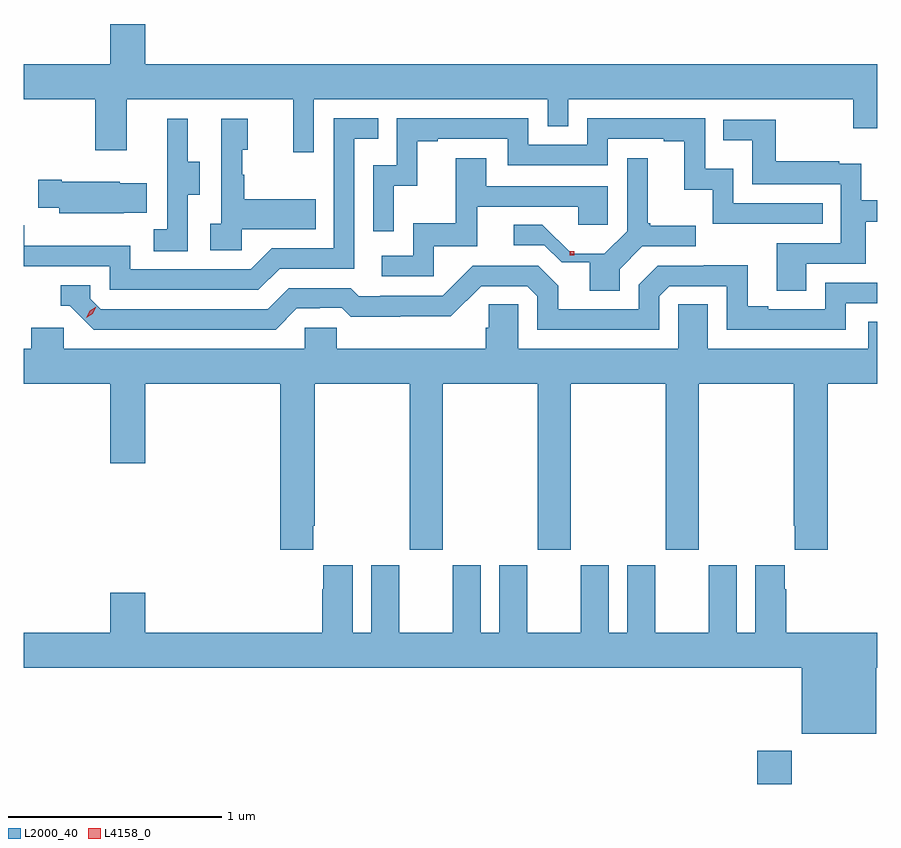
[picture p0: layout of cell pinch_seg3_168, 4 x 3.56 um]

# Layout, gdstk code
import gdstk
lib = gdstk.Library(unit=1e-6, precision=1e-09)
def R(c, l, rs):  # rectangles x0, y0, x1, y1
    for r in rs: c.add(gdstk.rectangle(r[:2], r[2:], *l))
def P(c, l, *ps):  # polygons
    for p in ps: c.add(gdstk.Polygon(p, *l))
L2000_40 = (2000, 40)
L4158_0 = (4158, 0)

pinch_seg3_168 = lib.new_cell('pinch_seg3_168')
R(pinch_seg3_168, L2000_40, [(1139.069,717.688,1139.229,717.844)])
P(pinch_seg3_168, L2000_40, [(1136.991,720.896),(1138.086,720.896),(1138.086,720.769),(1138.182,720.769),(1138.182,720.896),(1139.518,720.896),(1139.518,720.761),(1139.631,720.761),(1139.631,721.06),(1136.2,721.06),(1136.2,721.249),(1136.036,721.249),(1136.036,721.06),(1135.631,721.06),(1135.631,720.896),(1135.966,720.896),(1135.966,720.657),(1136.113,720.657),(1136.113,720.896),(1136.894,720.896),(1136.894,720.648),(1136.991,720.648)],
  [(1137.366,720.491),(1137.476,720.491),(1137.476,720.699),(1137.571,720.699),(1137.571,720.711),(1137.9,720.711),(1137.9,720.588),(1138.368,720.588),(1138.368,720.711),(1138.631,720.711),(1138.631,720.699),(1138.727,720.699),(1138.727,720.473),(1138.86,720.473),(1138.86,720.312),(1139.375,720.312),(1139.375,720.408),(1138.956,720.408),(1138.956,720.571),(1138.824,720.571),(1138.824,720.807),(1138.272,720.807),(1138.272,720.684),(1137.996,720.684),(1137.996,720.807),(1137.378,720.807),(1137.378,720.588),(1137.27,720.588),(1137.27,720.279),(1137.366,720.279)],
  [(1136.83,720.102),(1137.18,720.102),(1137.18,720.711),(1137.293,720.711),(1137.293,720.807),(1137.084,720.807),(1137.084,720.198),(1136.793,720.198),(1136.694,720.099),(1136.13,720.099),(1136.13,720.211),(1135.634,720.211),(1135.634,720.307),(1135.631,720.307),(1135.631,720.114),(1136.034,720.114),(1136.034,720.003),(1136.731,720.003)],
  [(1136.652,720.287),(1136.999,720.287),(1136.999,720.427),(1136.665,720.427),(1136.665,720.542),(1136.655,720.542),(1136.655,720.66),(1136.68,720.66),(1136.68,720.805),(1136.556,720.805),(1136.556,720.314),(1136.505,720.314),(1136.505,720.189),(1136.652,720.189)],
  [(1136.4,720.448),(1136.455,720.448),(1136.455,720.603),(1136.401,720.603),(1136.401,720.805),(1136.303,720.805),(1136.303,720.591),(1136.304,720.591),(1136.304,720.287),(1136.241,720.287),(1136.241,720.184),(1136.4,720.184)],
  [(1139.299,720.126),(1139.576,720.126),(1139.576,720.322),(1139.631,720.322),(1139.631,720.423),(1139.556,720.423),(1139.556,720.595),(1139.453,720.595),(1139.453,720.607),(1139.155,720.607),(1139.155,720.801),(1138.909,720.801),(1138.909,720.704),(1139.044,720.704),(1139.044,720.498),(1139.46,720.498),(1139.46,720.222),(1139.159,720.222),(1139.159,719.998),(1139.299,719.998)],
  [(1137.552,720.207),(1137.757,720.207),(1137.757,720.393),(1138.23,720.393),(1138.23,720.309),(1138.368,720.309),(1138.368,720.489),(1137.799,720.489),(1137.799,720.619),(1137.655,720.619),(1137.655,720.316),(1137.456,720.316),(1137.456,720.162),(1137.309,720.162),(1137.309,720.066),(1137.552,720.066)],
  [(1138.423,720.1),(1138.53,720.207),(1138.78,720.207),(1138.78,720.304),(1138.567,720.304),(1138.567,720.316),(1138.555,720.316),(1138.555,720.619),(1138.458,720.619),(1138.458,720.279),(1138.351,720.172),(1138.198,720.172),(1138.062,720.308),(1137.927,720.308),(1137.927,720.213),(1138.071,720.213),(1138.152,720.132),(1138.283,720.132),(1138.283,719.998),(1138.423,719.998)],
  [(1136.099,720.365),(1136.207,720.365),(1136.207,720.502),(1136.082,720.502),(1136.082,720.511),(1135.81,720.511),(1135.81,720.519),(1135.699,720.519),(1135.699,720.389),(1135.797,720.389),(1135.797,720.362),(1136.099,720.362)],
  [(1136.911,719.916),(1137.018,719.916),(1137.018,719.919),(1137.121,719.919),(1137.163,719.877),(1137.396,719.877),(1137.396,719.879),(1137.632,719.879),(1137.774,720.021),(1137.99,720.021),(1138.038,719.973),(1138.038,719.817),(1138.608,719.817),(1138.608,719.973),(1138.656,720.021),(1138.926,720.021),(1138.926,719.817),(1139.484,719.817),(1139.484,719.94),(1139.631,719.94),(1139.631,720.036),(1139.388,720.036),(1139.388,719.913),(1139.119,719.913),(1139.119,719.926),(1139.023,719.926),(1139.023,720.119),(1138.818,720.119),(1138.818,720.117),(1138.602,720.117),(1138.512,720.027),(1138.512,719.913),(1138.135,719.913),(1138.135,720.023),(1138.041,720.117),(1137.735,720.117),(1137.594,719.976),(1137.301,719.976),(1137.301,719.973),(1137.202,719.973),(1137.163,720.012),(1136.874,720.012),(1136.775,719.913),(1135.992,719.913),(1135.944,719.961),(1135.944,720.024),(1135.805,720.024),(1135.805,719.928),(1135.848,719.928),(1135.959,719.817),(1136.812,719.817)],
  [(1136.989,718.897),(1136.994,718.897),(1136.994,719.564),(1137.439,719.564),(1137.439,718.785),(1137.594,718.785),(1137.594,719.564),(1138.039,719.564),(1138.039,718.785),(1138.194,718.785),(1138.194,719.564),(1138.639,719.564),(1138.639,718.785),(1138.794,718.785),(1138.794,719.564),(1139.239,719.564),(1139.239,718.897),(1139.243,718.897),(1139.243,718.785),(1139.399,718.785),(1139.399,719.564),(1139.631,719.564),(1139.631,719.855),(1139.589,719.855),(1139.589,719.728),(1138.837,719.728),(1138.837,719.936),(1138.698,719.936),(1138.698,719.728),(1137.948,719.728),(1137.948,719.936),(1137.811,719.936),(1137.811,719.826),(1137.797,719.826),(1137.797,719.728),(1137.099,719.728),(1137.099,719.826),(1136.949,719.826),(1136.949,719.728),(1135.818,719.728),(1135.818,719.826),(1135.667,719.826),(1135.667,719.728),(1135.631,719.728),(1135.631,719.564),(1136.036,719.564),(1136.036,719.19),(1136.2,719.19),(1136.2,719.564),(1136.834,719.564),(1136.834,718.785),(1136.989,718.785)],
  [(1139.626,718.232),(1139.631,718.232),(1139.631,718.396),(1139.204,718.396),(1139.204,718.601),(1139.197,718.601),(1139.197,718.714),(1139.06,718.714),(1139.06,718.396),(1138.972,718.396),(1138.972,718.714),(1138.841,718.714),(1138.841,718.396),(1138.591,718.396),(1138.591,718.714),(1138.46,718.714),(1138.46,718.396),(1138.372,718.396),(1138.372,718.714),(1138.241,718.714),(1138.241,718.396),(1137.991,718.396),(1137.991,718.714),(1137.86,718.714),(1137.86,718.396),(1137.772,718.396),(1137.772,718.714),(1137.641,718.714),(1137.641,718.396),(1137.391,718.396),(1137.391,718.714),(1137.26,718.714),(1137.26,718.396),(1137.172,718.396),(1137.172,718.714),(1137.035,718.714),(1137.035,718.601),(1137.029,718.601),(1137.029,718.396),(1136.2,718.396),(1136.2,718.585),(1136.036,718.585),(1136.036,718.396),(1135.631,718.396),(1135.631,718.232),(1139.276,718.232),(1139.276,717.923),(1139.626,717.923)])
R(pinch_seg3_168, L4158_0, [(1138.19,720.165,1138.21,720.185)])
P(pinch_seg3_168, L4158_0, [(1135.924,719.872),(1135.924,719.873),(1135.94,719.905),(1135.97,719.925),(1135.97,719.925),(1135.97,719.925),(1135.955,719.892),(1135.924,719.872)])

lib.write_gds('pinch_seg3_168.gds')
